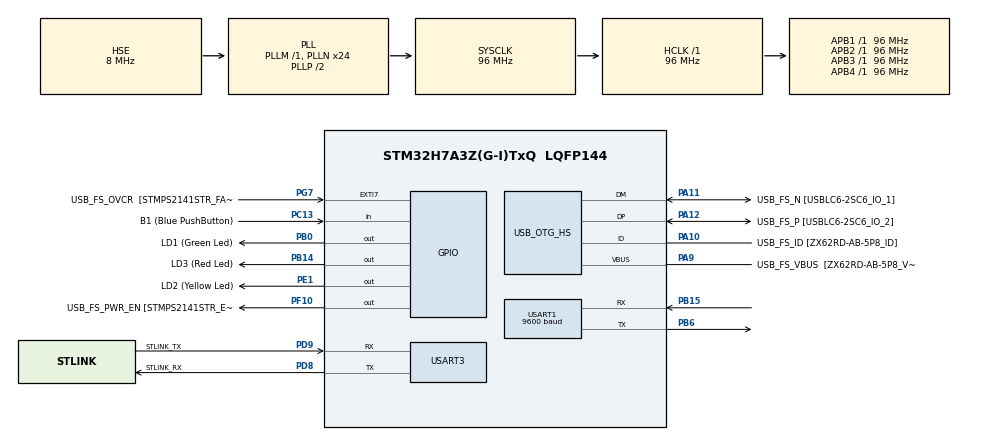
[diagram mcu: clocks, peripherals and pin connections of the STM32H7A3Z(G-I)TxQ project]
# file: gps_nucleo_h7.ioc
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Mcu.Family=STM32H7
Mcu.Name=STM32H7A3Z(G-I)TxQ
Mcu.Package=LQFP144
NVIC.PriorityGroup=NVIC_PRIORITYGROUP_4
NVIC.USART1_IRQn=true\:0\:0\:false\:false\:true\:true\:true\:true
PA10.GPIO_Label=USB_FS_ID [ZX62RD-AB-5P8_ID]
PA10.Mode=OTG/Dual-Role-Device-FS
PA10.Signal=USB_OTG_HS_ID
PA11.GPIO_Label=USB_FS_N [USBLC6-2SC6_IO_1]
PA11.Mode=OTG/Dual-Role-Device-FS
PA11.Signal=USB_OTG_HS_DM
PA12.GPIO_Label=USB_FS_P [USBLC6-2SC6_IO_2]
PA12.Mode=OTG/Dual-Role-Device-FS
PA12.Signal=USB_OTG_HS_DP
PA9.GPIO_Label=USB_FS_VBUS  [ZX62RD-AB-5P8_VBUS]
PA9.Mode=Activate_VBUS_FS
PA9.Signal=USB_OTG_HS_VBUS
PB0.GPIO_Label=LD1 (Green Led)
PB0.Signal=GPIO_Output
PB14.GPIO_Label=LD3 (Red Led)
PB14.Signal=GPIO_Output
PB15.Mode=Asynchronous
PB15.Signal=USART1_RX
PB6.Mode=Asynchronous
PB6.Signal=USART1_TX
PC13.GPIO_Label=B1 (Blue PushButton)
PC13.Signal=GPIO_Input
PC14-OSC32_IN.GPIO_Label=OSC32_IN
PC14-OSC32_IN.Mode=LSE-External-Oscillator
PC14-OSC32_IN.Signal=RCC_OSC32_IN
PC15-OSC32_OUT.GPIO_Label=OSC32_OUT
PC15-OSC32_OUT.Mode=LSE-External-Oscillator
PC15-OSC32_OUT.Signal=RCC_OSC32_OUT
PD8.GPIO_Label=STLINK_RX
PD8.Mode=Asynchronous
PD8.Signal=USART3_TX
PD9.GPIO_Label=STLINK_TX
PD9.Mode=Asynchronous
PD9.Signal=USART3_RX
PE1.GPIO_Label=LD2 (Yellow Led)
PE1.Signal=GPIO_Output
PF10.GPIO_Label=USB_FS_PWR_EN [STMPS2141STR_EN]
PF10.Signal=GPIO_Output
PG7.GPIO_Label=USB_FS_OVCR  [STMPS2141STR_FAULT]
PG7.Signal=GPXTI7
PH0-OSC_IN.GPIO_Label=PH0-MCU
PH0-OSC_IN.Mode=HSE-External-Clock-Source
PH0-OSC_IN.Signal=RCC_OSC_IN
PH1-OSC_OUT.GPIO_Label=PH1-MCU
PH1-OSC_OUT.Signal=RCC_OSC_OUT
ProjectManager.HeapSize=0x200
ProjectManager.StackSize=0x400
ProjectManager.TargetToolchain=STM32CubeIDE
RCC.ADCFreq_Value=16125000
RCC.APB1Freq_Value=96000000
RCC.APB2Freq_Value=96000000
RCC.APB3Freq_Value=96000000
RCC.APB4Freq_Value=96000000
RCC.CortexFreq_Value=96000000
RCC.DIVM1=1
RCC.DIVM3=1
RCC.DIVN1=24
RCC.DIVN3=24
RCC.DIVQ1=4
RCC.HCLKFreq_Value=96000000
RCC.HSE_VALUE=8000000
RCC.PLLFRACN=0
RCC.PLLSourceVirtual=RCC_PLLSOURCE_HSE
RCC.PWR_Regulator_Voltage_Scale=PWR_REGULATOR_VOLTAGE_SCALE0
RCC.SYSCLKFreq_VALUE=96000000
RCC.SYSCLKSource=RCC_SYSCLKSOURCE_PLLCLK
RCC.SupplySource=PWR_DIRECT_SMPS_SUPPLY
RCC.USBCLockSelection=RCC_USBCLKSOURCE_HSI48
RCC.USBFreq_Value=48000000
USART1.BaudRate=9600
USART1.VirtualMode-Asynchronous=VM_ASYNC
USART3.VirtualMode-Asynchronous=VM_ASYNC
VP_MEMORYMAP_VS_MEMORYMAP.Mode=CurAppReg
board=NUCLEO-H7A3ZI-Q

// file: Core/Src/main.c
/* USER CODE BEGIN Header */
/**
  ******************************************************************************
  * @file           : main.c
  * @brief          : Main program body
  ******************************************************************************
  * @attention
  *
  * Copyright (c) 2024 STMicroelectronics.
  * All rights reserved.
  *
  * This software is licensed under terms that can be found in the LICENSE file
  * in the root directory of this software component.
  * If no LICENSE file comes with this software, it is provided AS-IS.
  *
  ******************************************************************************
  */
/* USER CODE END Header */
#include "main.h"

/* USER CODE BEGIN Includes */
#include <stdio.h>
#include "string.h"
#include "gps.h"
/* USER CODE END Includes */

UART_HandleTypeDef huart1;
UART_HandleTypeDef huart3;

void SystemClock_Config(void);
static void MX_GPIO_Init(void);
static void MX_USART3_UART_Init(void);
static void MX_USB_OTG_HS_USB_Init(void);
static void MX_USART1_UART_Init(void);

/* USER CODE BEGIN 0 */
void HAL_UART_RxCpltCallback(UART_HandleTypeDef *huart)
{
	if(huart == GPS_USART) GPS_UART_CallBack();
}

void send_gps_data() {
	char buffer[200];

	// GPS data
	snprintf(buffer, sizeof(buffer),
			"[GPS Data] Time: %02d:%02d:%02d, Latitude: %.6f %c, Longitude: %.6f %c, Speed: %.2f knots, Status: %c\r\n",
			GPS.hours, GPS.minutes, GPS.seconds,  // Use pre-converted time
			GPS.dec_latitude,                     // Decimal latitude
			GPS.ns,                               // N/S indicator
			GPS.dec_longitude,                    // Decimal longitude
			GPS.ew,                               // E/W indicator
			GPS.speed_k,                          // Speed in knots
			GPS.rmc_status                        // RMC status ('A' = active, 'V' = void)
			);

	HAL_UART_Transmit(&huart3, (uint8_t*) buffer, strlen(buffer), HAL_MAX_DELAY);
	HAL_Delay(100); // 10 Hz
}
/* USER CODE END 0 */

int main(void)
{

  /* MCU Configuration--------------------------------------------------------*/

  /* Reset of all peripherals, Initializes the Flash interface and the Systick. */
  HAL_Init();

  /* Configure the system clock */
  SystemClock_Config();

  /* Initialize all configured peripherals */
  MX_GPIO_Init();
  MX_USART3_UART_Init();
  MX_USB_OTG_HS_USB_Init();
  MX_USART1_UART_Init();
  /* USER CODE BEGIN 2 */
  GPS_Init();
  /* USER CODE END 2 */

  /* Infinite loop */
  while (1)
  {
	send_gps_data();
  }
}

void SystemClock_Config(void)
{
  RCC_OscInitTypeDef RCC_OscInitStruct = {0};
  RCC_ClkInitTypeDef RCC_ClkInitStruct = {0};

  /*AXI clock gating */
  RCC->CKGAENR = 0xFFFFFFFF;

  /** Supply configuration update enable
  */
  HAL_PWREx_ConfigSupply(PWR_DIRECT_SMPS_SUPPLY);

  /** Configure the main internal regulator output voltage
  */
  __HAL_PWR_VOLTAGESCALING_CONFIG(PWR_REGULATOR_VOLTAGE_SCALE0);

  while(!__HAL_PWR_GET_FLAG(PWR_FLAG_VOSRDY)) {}

  /** Initializes the RCC Oscillators according to the specified parameters
  * in the RCC_OscInitTypeDef structure.
  */
  RCC_OscInitStruct.OscillatorType = RCC_OSCILLATORTYPE_HSI48|RCC_OSCILLATORTYPE_HSE;
  RCC_OscInitStruct.HSEState = RCC_HSE_BYPASS;
  RCC_OscInitStruct.HSI48State = RCC_HSI48_ON;
  RCC_OscInitStruct.PLL.PLLState = RCC_PLL_ON;
  RCC_OscInitStruct.PLL.PLLSource = RCC_PLLSOURCE_HSE;
  RCC_OscInitStruct.PLL.PLLM = 1;
  RCC_OscInitStruct.PLL.PLLN = 24;
  RCC_OscInitStruct.PLL.PLLP = 2;
  RCC_OscInitStruct.PLL.PLLQ = 4;
  RCC_OscInitStruct.PLL.PLLR = 2;
  RCC_OscInitStruct.PLL.PLLRGE = RCC_PLL1VCIRANGE_3;
  RCC_OscInitStruct.PLL.PLLVCOSEL = RCC_PLL1VCOWIDE;
  RCC_OscInitStruct.PLL.PLLFRACN = 0;
  if (HAL_RCC_OscConfig(&RCC_OscInitStruct) != HAL_OK)
  {
    Error_Handler();
  }

  /** Initializes the CPU, AHB and APB buses clocks
  */
  RCC_ClkInitStruct.ClockType = RCC_CLOCKTYPE_HCLK|RCC_CLOCKTYPE_SYSCLK
                              |RCC_CLOCKTYPE_PCLK1|RCC_CLOCKTYPE_PCLK2
                              |RCC_CLOCKTYPE_D3PCLK1|RCC_CLOCKTYPE_D1PCLK1;
  RCC_ClkInitStruct.SYSCLKSource = RCC_SYSCLKSOURCE_PLLCLK;
  RCC_ClkInitStruct.SYSCLKDivider = RCC_SYSCLK_DIV1;
  RCC_ClkInitStruct.AHBCLKDivider = RCC_HCLK_DIV1;
  RCC_ClkInitStruct.APB3CLKDivider = RCC_APB3_DIV1;
  RCC_ClkInitStruct.APB1CLKDivider = RCC_APB1_DIV1;
  RCC_ClkInitStruct.APB2CLKDivider = RCC_APB2_DIV1;
  RCC_ClkInitStruct.APB4CLKDivider = RCC_APB4_DIV1;

  if (HAL_RCC_ClockConfig(&RCC_ClkInitStruct, FLASH_LATENCY_2) != HAL_OK)
  {
    Error_Handler();
  }
}

static void MX_USART1_UART_Init(void)
{

  huart1.Instance = USART1;
  huart1.Init.BaudRate = 9600;
  huart1.Init.WordLength = UART_WORDLENGTH_8B;
  huart1.Init.StopBits = UART_STOPBITS_1;
  huart1.Init.Parity = UART_PARITY_NONE;
  huart1.Init.Mode = UART_MODE_TX_RX;
  huart1.Init.HwFlowCtl = UART_HWCONTROL_NONE;
  huart1.Init.OverSampling = UART_OVERSAMPLING_16;
  huart1.Init.OneBitSampling = UART_ONE_BIT_SAMPLE_DISABLE;
  huart1.Init.ClockPrescaler = UART_PRESCALER_DIV1;
  huart1.AdvancedInit.AdvFeatureInit = UART_ADVFEATURE_NO_INIT;
  if (HAL_UART_Init(&huart1) != HAL_OK)
  {
    Error_Handler();
  }
  if (HAL_UARTEx_SetTxFifoThreshold(&huart1, UART_TXFIFO_THRESHOLD_1_8) != HAL_OK)
  {
    Error_Handler();
  }
  if (HAL_UARTEx_SetRxFifoThreshold(&huart1, UART_RXFIFO_THRESHOLD_1_8) != HAL_OK)
  {
    Error_Handler();
  }
  if (HAL_UARTEx_DisableFifoMode(&huart1) != HAL_OK)
  {
    Error_Handler();
  }

}

static void MX_USART3_UART_Init(void)
{

  huart3.Instance = USART3;
  huart3.Init.BaudRate = 115200;
  huart3.Init.WordLength = UART_WORDLENGTH_8B;
  huart3.Init.StopBits = UART_STOPBITS_1;
  huart3.Init.Parity = UART_PARITY_NONE;
  huart3.Init.Mode = UART_MODE_TX_RX;
  huart3.Init.HwFlowCtl = UART_HWCONTROL_NONE;
  huart3.Init.OverSampling = UART_OVERSAMPLING_16;
  huart3.Init.OneBitSampling = UART_ONE_BIT_SAMPLE_DISABLE;
  huart3.Init.ClockPrescaler = UART_PRESCALER_DIV1;
  huart3.AdvancedInit.AdvFeatureInit = UART_ADVFEATURE_NO_INIT;
  if (HAL_UART_Init(&huart3) != HAL_OK)
  {
    Error_Handler();
  }
  if (HAL_UARTEx_SetTxFifoThreshold(&huart3, UART_TXFIFO_THRESHOLD_1_8) != HAL_OK)
  {
    Error_Handler();
  }
  if (HAL_UARTEx_SetRxFifoThreshold(&huart3, UART_RXFIFO_THRESHOLD_1_8) != HAL_OK)
  {
    Error_Handler();
  }
  if (HAL_UARTEx_DisableFifoMode(&huart3) != HAL_OK)
  {
    Error_Handler();
  }

}

static void MX_USB_OTG_HS_USB_Init(void)
{

}

static void MX_GPIO_Init(void)
{
  GPIO_InitTypeDef GPIO_InitStruct = {0};

  /* GPIO Ports Clock Enable */
  __HAL_RCC_GPIOC_CLK_ENABLE();
  __HAL_RCC_GPIOF_CLK_ENABLE();
  __HAL_RCC_GPIOH_CLK_ENABLE();
  __HAL_RCC_GPIOB_CLK_ENABLE();
  __HAL_RCC_GPIOD_CLK_ENABLE();
  __HAL_RCC_GPIOG_CLK_ENABLE();
  __HAL_RCC_GPIOA_CLK_ENABLE();
  __HAL_RCC_GPIOE_CLK_ENABLE();

  /*Configure GPIO pin Output Level */
  HAL_GPIO_WritePin(USB_FS_PWR_EN_GPIO_Port, USB_FS_PWR_EN_Pin, GPIO_PIN_RESET);

  /*Configure GPIO pin Output Level */
  HAL_GPIO_WritePin(GPIOB, LD1_Pin|LD3_Pin, GPIO_PIN_RESET);

  /*Configure GPIO pin Output Level */
  HAL_GPIO_WritePin(LD2_GPIO_Port, LD2_Pin, GPIO_PIN_RESET);

  /*Configure GPIO pin : B1_Pin */
  GPIO_InitStruct.Pin = B1_Pin;
  GPIO_InitStruct.Mode = GPIO_MODE_INPUT;
  GPIO_InitStruct.Pull = GPIO_NOPULL;
  HAL_GPIO_Init(B1_GPIO_Port, &GPIO_InitStruct);

  /*Configure GPIO pin : USB_FS_PWR_EN_Pin */
  GPIO_InitStruct.Pin = USB_FS_PWR_EN_Pin;
  GPIO_InitStruct.Mode = GPIO_MODE_OUTPUT_PP;
  GPIO_InitStruct.Pull = GPIO_NOPULL;
  GPIO_InitStruct.Speed = GPIO_SPEED_FREQ_LOW;
  HAL_GPIO_Init(USB_FS_PWR_EN_GPIO_Port, &GPIO_InitStruct);

  /*Configure GPIO pins : LD1_Pin LD3_Pin */
  GPIO_InitStruct.Pin = LD1_Pin|LD3_Pin;
  GPIO_InitStruct.Mode = GPIO_MODE_OUTPUT_PP;
  GPIO_InitStruct.Pull = GPIO_NOPULL;
  GPIO_InitStruct.Speed = GPIO_SPEED_FREQ_LOW;
  HAL_GPIO_Init(GPIOB, &GPIO_InitStruct);

  /*Configure GPIO pin : USB_FS_OVCR_Pin */
  GPIO_InitStruct.Pin = USB_FS_OVCR_Pin;
  GPIO_InitStruct.Mode = GPIO_MODE_IT_RISING;
  GPIO_InitStruct.Pull = GPIO_NOPULL;
  HAL_GPIO_Init(USB_FS_OVCR_GPIO_Port, &GPIO_InitStruct);

  /*Configure GPIO pin : USB_FS_VBUS_Pin */
  GPIO_InitStruct.Pin = USB_FS_VBUS_Pin;
  GPIO_InitStruct.Mode = GPIO_MODE_INPUT;
  GPIO_InitStruct.Pull = GPIO_NOPULL;
  HAL_GPIO_Init(USB_FS_VBUS_GPIO_Port, &GPIO_InitStruct);

  /*Configure GPIO pin : USB_FS_ID_Pin */
  GPIO_InitStruct.Pin = USB_FS_ID_Pin;
  GPIO_InitStruct.Mode = GPIO_MODE_AF_PP;
  GPIO_InitStruct.Pull = GPIO_NOPULL;
  GPIO_InitStruct.Speed = GPIO_SPEED_FREQ_LOW;
  GPIO_InitStruct.Alternate = GPIO_AF10_OTG1_HS;
  HAL_GPIO_Init(USB_FS_ID_GPIO_Port, &GPIO_InitStruct);

  /*Configure GPIO pins : USB_FS_N_Pin USB_FS_P_Pin */
  GPIO_InitStruct.Pin = USB_FS_N_Pin|USB_FS_P_Pin;
  GPIO_InitStruct.Mode = GPIO_MODE_AF_PP;
  GPIO_InitStruct.Pull = GPIO_NOPULL;
  GPIO_InitStruct.Speed = GPIO_SPEED_FREQ_LOW;
  HAL_GPIO_Init(GPIOA, &GPIO_InitStruct);

  /*Configure GPIO pin : LD2_Pin */
  GPIO_InitStruct.Pin = LD2_Pin;
  GPIO_InitStruct.Mode = GPIO_MODE_OUTPUT_PP;
  GPIO_InitStruct.Pull = GPIO_NOPULL;
  GPIO_InitStruct.Speed = GPIO_SPEED_FREQ_LOW;
  HAL_GPIO_Init(LD2_GPIO_Port, &GPIO_InitStruct);

}

void Error_Handler(void)
{
  __disable_irq();
  while (1)
  {
  }
}
